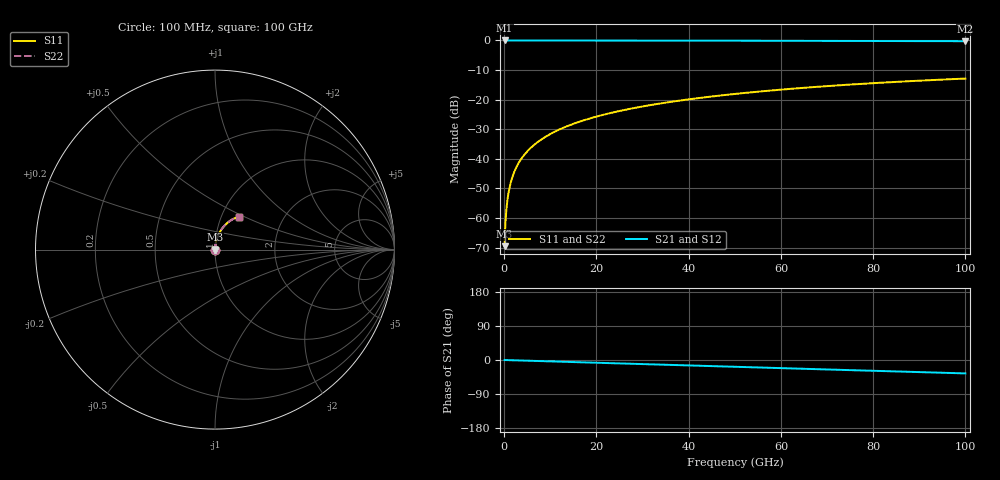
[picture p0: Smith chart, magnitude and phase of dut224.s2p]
! Touchstone file exported from HFSS 2026.1.0
!  File:  C:/ffzhzh/LocalFiles/Ansys_Project_Files/temp_train_TSV_224_1783507869_44152.aedt
!  Generated:  06:52:28 PM Jul  8, 2026
!  Design:  TSV
!  Project:  temp_train_TSV_224_1783507869_44152
! Variables:
!  h_bsmrdl = 2um
!  h_ox = 20um
!  h_rdl = 5um
!  h_sub = 59.68um
!  h_tmrdl = 5um
!  h_tsv = 59.68um
!  h_via = 3um
!  l_bsmrdl = 300um
!  l_sub = 414.8um
!  l_tmrdl = 200um
!  m_sub = 200um
!  pitch = 52.28um
!  r_tsv = 7.4um
!  s_tmrdl = 10um
!  w_bsmrdl = 18um
!  w_sub = 500um
!  w_tmrdl = 12um
!  x_tsv_center1 = 206um
!  x_tsv_center2 = 524um
!  x_tsv_center3 = 736um
!  x_tsv_center4 = 1054um
!  x_tsv_center5 = 1266um
!  x_tsv_center6 = 1584um
# GHz S MA R 50.000000
! Terminal data exported
! Port[1] = TSV1_1_T1
! Port[2] = TSV1_1_T2
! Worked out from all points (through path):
!   1000 points, 100 MHz to 100 GHz, reference 50 ohm
!   highest |S21| = 0.00 dB at 100 MHz (marker M1); lowest = -0.3 dB at 100 GHz (marker M2)
!   group delay of S21, straight-line fit = 983 fs
!   lowest |S11| = -69.5 dB at 100 MHz (marker M3), VSWR 1.00, Z = 50 + j0.0293 ohm
!   |S11| at or under -10 dB: start of sweep to end of sweep
!   |S22| runs from -69.5 to -12.9 dB; largest |S21 - S12| = 4e-15
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0.1  0.0003336 61.5  0.9998 -0.0  0.9998 -0.0  0.0003336 61.5
! Gamma 0 0 0 0
! Port Impedance 50 0 50 0
0.3  0.0008827 77.9  0.9998 -0.1  0.9998 -0.1  0.0008827 77.9
0.7  0.001977 83.1  0.9998 -0.3  0.9998 -0.3  0.001977 83.1
0.8  0.002248 83.6  0.9998 -0.3  0.9998 -0.3  0.002248 83.6
1  0.002791 84.3  0.9997 -0.4  0.9997 -0.4  0.002791 84.3
1.3  0.003601 84.9  0.9997 -0.5  0.9997 -0.5  0.003601 84.9
1.7  0.004674 85.3  0.9997 -0.6  0.9997 -0.6  0.004674 85.3
2.3  0.006265 85.5  0.9996 -0.9  0.9996 -0.9  0.006265 85.5
3  0.008103 85.6  0.9995 -1.1  0.9995 -1.1  0.008103 85.6
3.8  0.01019 85.6  0.9994 -1.4  0.9994 -1.4  0.01019 85.6
4.8  0.01278 85.6  0.9993 -1.8  0.9993 -1.8  0.01278 85.6
6  0.01589 85.4  0.9992 -2.2  0.9992 -2.2  0.01589 85.4
8.8  0.02311 84.8  0.9989 -3.2  0.9989 -3.2  0.02311 84.8
12.4  0.03234 83.8  0.9985 -4.5  0.9985 -4.5  0.03234 83.8
16.8  0.04355 82.4  0.9979 -6.1  0.9979 -6.1  0.04355 82.4
24.2  0.06221 80.0  0.9967 -8.8  0.9967 -8.8  0.06221 80.0
33.4  0.08501 76.9  0.9948 -12.0  0.9948 -12.0  0.08501 76.9
41.2  0.1039 74.2  0.9928 -14.8  0.9928 -14.8  0.1039 74.2
50.1  0.1249 71.1  0.9903 -18.0  0.9903 -18.0  0.1249 71.1
66.7  0.1621 65.4  0.9846 -23.8  0.9846 -23.8  0.1621 65.4
83.4  0.1965 59.7  0.9781 -29.7  0.9781 -29.7  0.1965 59.7
100  0.2269 54.1  0.9712 -35.4  0.9712 -35.4  0.2269 54.1
